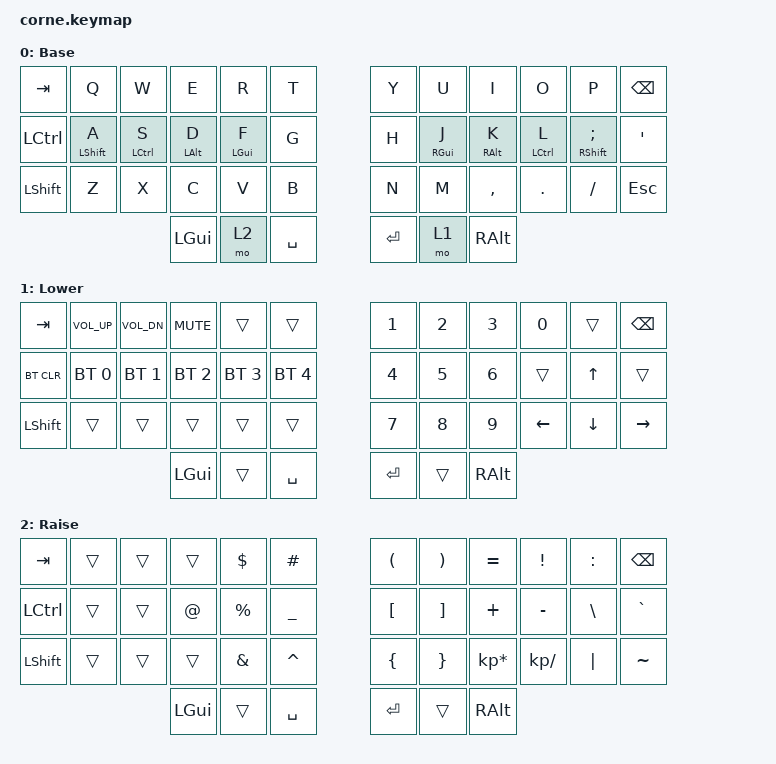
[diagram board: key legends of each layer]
/*
 * Copyright (c) 2020 The ZMK Contributors
 *
 * SPDX-License-Identifier: MIT
 */

#include <behaviors.dtsi>
#include <dt-bindings/zmk/bt.h>
#include <dt-bindings/zmk/keys.h>

/ {
    macros {
        shift: shift {
            compatible = "zmk,behavior-macro-one-param";
            #binding-cells = <1>;
            bindings =
                <&macro_press>,
                <&kp LEFT_SHIFT>,
                <&macro_tap>,
                <&macro_param_1to1 &kp MACRO_PLACEHOLDER>,
                <&macro_release>,
                <&kp LEFT_SHIFT>;

            label = "SHIFT";
        };

        as: as {
            compatible = "zmk,behavior-macro-one-param";
            #binding-cells = <1>;
            bindings =
                <&macro_press>,
                <&macro_param_1to1 &macro_param_1to2 &as_ht MACRO_PLACEHOLDER MACRO_PLACEHOLDER>,
                <&macro_pause_for_release>,
                <&macro_release>,
                <&macro_param_1to1 &macro_param_1to2 &as_ht MACRO_PLACEHOLDER MACRO_PLACEHOLDER>;

            label = "AS";
        };
    };

    behaviors {
        as_ht: autoshift_hold_tap {
            compatible = "zmk,behavior-hold-tap";
            label = "AUTOSHIFT_HOLD_TAP";
            bindings = <&shift>, <&kp>;

            #binding-cells = <2>;
            tapping-term-ms = <190>;
        };

        hml: homewrow_mods_left {
            compatible = "zmk,behavior-hold-tap";
            label = "HOMEWROW_MODS_LEFT";
            bindings = <&kp>, <&kp>;

            #binding-cells = <2>;
            tapping-term-ms = <200>;
            hold-trigger-key-positions = <18 6 39 40 41 19 31 30 7 8 20 32 33 21 9 34 22 10 35 23 11>;
        };

        hmr: homewrow_mods_right {
            compatible = "zmk,behavior-hold-tap";
            label = "HOMEWROW_MODS_RIGHT";
            bindings = <&kp>, <&kp>;

            #binding-cells = <2>;
            tapping-term-ms = <200>;
            hold-trigger-key-positions = <38 37 29 17 5 28 36 16 4 3 15 27 26 14 2 25 13 1 24 12 0>;
        };
    };

    combos {
        compatible = "zmk,combos";

        delete {
            bindings = <&kp DELETE>;
            key-positions = <6 7>;
        };

        capitalize {
            bindings = <&caps_word>;
            key-positions = <17 18>;
        };
    };

    keymap {
        compatible = "zmk,keymap";

        default_layer {
            // -----------------------------------------------------------------------------------------
            // |  TAB |  Q  |  W  |  E  |  R  |  T  |   |  Y  |  U   |  I  |  O  |  P  | BKSP |
            // | CTRL |  A  |  S  |  D  |  F  |  G  |   |  H  |  J   |  K  |  L  |  ;  |  '   |
            // | SHFT |  Z  |  X  |  C  |  V  |  B  |   |  N  |  M   |  ,  |  .  |  /  | ESC  |
            //                    | GUI | LWR | SPC |   | ENT | RSE  | ALT |

            display-name = "Base";
            bindings = <
&kp TAB    &kp Q              &kp W                &kp E        &kp R        &kp T        &kp Y    &kp U             &kp I        &kp O         &kp P            &kp BSPC
&kp LCTRL  &hml LEFT_SHIFT A  &hml LEFT_CONTROL S  &hml LALT D  &hml LGUI F  &kp G        &kp H    &hmr RIGHT_GUI J  &hmr RALT K  &hmr LCTRL L  &hmr RSHFT SEMI  &kp SQT
&kp LSHFT  &kp Z              &kp X                &kp C        &kp V        &kp B        &kp N    &kp M             &kp COMMA    &kp DOT       &kp FSLH         &kp ESC
                                                   &kp LGUI     &mo 2        &kp SPACE    &kp RET  &mo 1             &kp RALT
            >;
        };

        lower_layer {
            // -----------------------------------------------------------------------------------------
            // |  TAB |  1  |  2  |  3  |  4  |  5  |   |  6  |  7  |  8  |  9  |  0  | BKSP |
            // | BTCLR| BT1 | BT2 | BT3 | BT4 | BT5 |   | LFT | DWN |  UP | RGT |     |      |
            // | SHFT |     |     |     |     |     |   |     |     |     |     |     |      |
            //                    | GUI |     | SPC |   | ENT |     | ALT |

            display-name = "Lower";
            bindings = <
&kp TAB     &kp C_VOL_UP  &kp C_VOL_DN  &kp K_MUTE    &trans        &trans          &kp N1   &kp N2  &kp N3    &kp N0          &trans          &kp BSPC
&bt BT_CLR  &bt BT_SEL 0  &bt BT_SEL 1  &bt BT_SEL 2  &bt BT_SEL 3  &bt BT_SEL 4    &kp N4   &kp N5  &kp N6    &trans          &kp UP_ARROW    &trans
&kp LSHFT   &trans        &trans        &trans        &trans        &trans          &kp N7   &kp N8  &kp N9    &kp LEFT_ARROW  &kp DOWN_ARROW  &kp RIGHT
                                        &kp LGUI      &trans        &kp SPACE       &kp RET  &trans  &kp RALT
            >;
        };

        raise_layer {
            // -----------------------------------------------------------------------------------------
            // |  TAB |  !  |  @  |  #  |  $  |  %  |   |  ^  |  &  |  *  |  (  |  )  | BKSP |
            // | CTRL |     |     |     |     |     |   |  -  |  =  |  [  |  ]  |  \  |  `   |
            // | SHFT |     |     |     |     |     |   |  _  |  +  |  {  |  }  | "|" |  ~   |
            //                    | GUI |     | SPC |   | ENT |     | ALT |

            display-name = "Raise";
            bindings = <
&kp TAB    &trans  &trans  &trans    &kp DLLR     &kp HASH     &kp LEFT_PARENTHESIS  &kp RIGHT_PARENTHESIS  &kp EQUAL        &kp EXCL       &kp COLON  &kp BSPC
&kp LCTRL  &trans  &trans  &kp AT    &kp PERCENT  &kp UNDER    &kp LEFT_BRACKET      &kp RIGHT_BRACKET      &kp PLUS         &kp MINUS      &kp BSLH   &kp GRAVE
&kp LSHFT  &trans  &trans  &trans    &kp AMPS     &kp CARET    &kp LEFT_BRACE        &kp RIGHT_BRACE        &kp KP_MULTIPLY  &kp KP_DIVIDE  &kp PIPE   &kp TILDE
                           &kp LGUI  &trans       &kp SPACE    &kp RET               &trans                 &kp RALT
            >;
        };
    };
};
